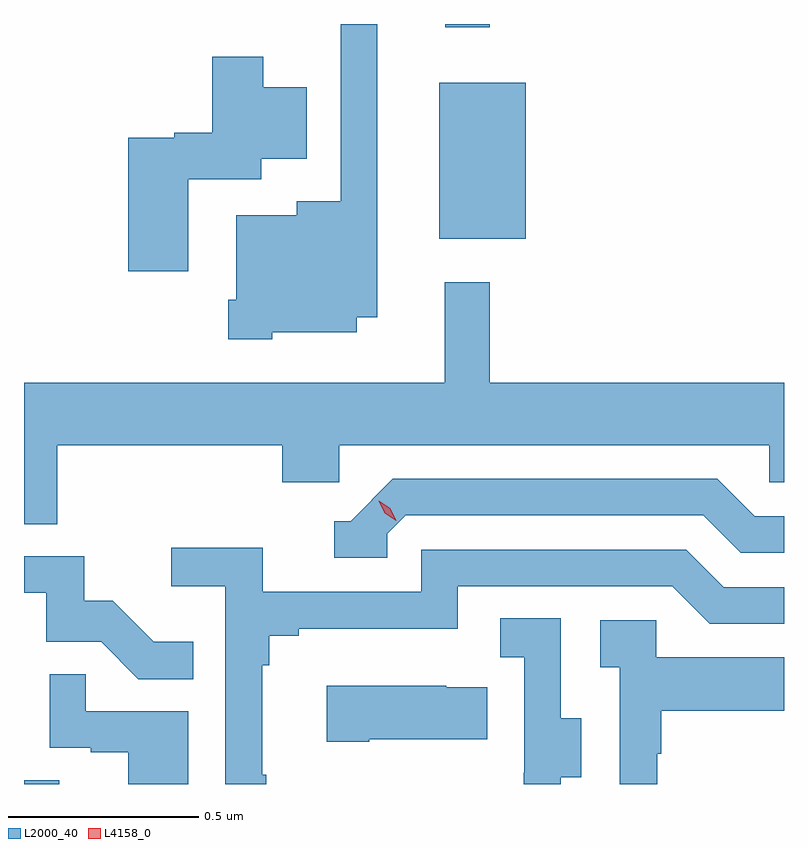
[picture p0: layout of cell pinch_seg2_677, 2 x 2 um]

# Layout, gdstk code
import gdstk
lib = gdstk.Library(unit=1e-6, precision=1e-09)
def R(c, l, rs):  # rectangles x0, y0, x1, y1
    for r in rs: c.add(gdstk.rectangle(r[:2], r[2:], *l))
def P(c, l, *ps):  # polygons
    for p in ps: c.add(gdstk.Polygon(p, *l))
L2000_40 = (2000, 40)
L4158_0 = (4158, 0)

pinch_seg2_677 = lib.new_cell('pinch_seg2_677')
R(pinch_seg2_677, L2000_40, [(1025.542,598.792,1025.635,598.802), (1026.635,600.227,1026.862,600.637), (1026.65,600.783,1026.767,600.792), (1026.079,600.791,1026.197,600.792)])
P(pinch_seg2_677, L2000_40, [(1026.195,599.981),(1026.418,599.981),(1026.418,600.02),(1026.472,600.02),(1026.472,600.792),(1026.375,600.792),(1026.375,600.325),(1026.26,600.325),(1026.26,600.289),(1026.101,600.289),(1026.101,600.067),(1026.08,600.067),(1026.08,599.963),(1026.195,599.963)],
  [(1025.974,600.383),(1026.166,600.383),(1026.166,600.437),(1026.286,600.437),(1026.286,600.625),(1026.172,600.625),(1026.172,600.706),(1026.038,600.706),(1026.038,600.506),(1025.937,600.506),(1025.937,600.493),(1025.816,600.493),(1025.816,600.141),(1025.974,600.141)],
  [(1025.63,599.684),(1026.221,599.684),(1026.221,599.586),(1026.372,599.586),(1026.372,599.684),(1027.503,599.684),(1027.503,599.586),(1027.542,599.586),(1027.542,599.848),(1026.767,599.848),(1026.767,600.112),(1026.649,600.112),(1026.649,599.848),(1025.542,599.848),(1025.542,599.476),(1025.63,599.476)],
  [(1026.498,599.451),(1026.546,599.499),(1027.329,599.499),(1027.428,599.4),(1027.542,599.4),(1027.542,599.496),(1027.465,599.496),(1027.366,599.595),(1026.513,599.595),(1026.402,599.484),(1026.359,599.484),(1026.359,599.388),(1026.498,599.388)],
  [(1026.18,598.817),(1026.169,598.817),(1026.169,599.105),(1026.188,599.105),(1026.188,599.182),(1026.265,599.182),(1026.265,599.201),(1026.684,599.201),(1026.684,599.313),(1027.248,599.313),(1027.347,599.214),(1027.542,599.214),(1027.542,599.31),(1027.384,599.31),(1027.285,599.409),(1026.588,599.409),(1026.588,599.298),(1026.17,599.298),(1026.17,599.414),(1025.93,599.414),(1025.93,599.312),(1026.072,599.312),(1026.072,598.792),(1026.18,598.792)],
  [(1025.987,599.167),(1025.883,599.167),(1025.776,599.274),(1025.7,599.274),(1025.7,599.391),(1025.542,599.391),(1025.542,599.295),(1025.601,599.295),(1025.601,599.166),(1025.745,599.166),(1025.843,599.068),(1025.987,599.068)],
  [(1026.955,598.81),(1027.009,598.81),(1027.009,598.965),(1026.954,598.965),(1026.954,599.228),(1026.795,599.228),(1026.795,599.125),(1026.858,599.125),(1026.858,598.821),(1026.857,598.821),(1026.857,598.792),(1026.955,598.792)],
  [(1027.209,598.871),(1027.219,598.871),(1027.219,598.985),(1027.542,598.985),(1027.542,599.125),(1027.206,599.125),(1027.206,599.223),(1027.059,599.223),(1027.059,599.099),(1027.11,599.099),(1027.11,598.792),(1027.209,598.792)],
  [(1025.974,598.983),(1025.705,598.983),(1025.705,599.081),(1025.61,599.081),(1025.61,598.887),(1025.717,598.887),(1025.717,598.875),(1025.816,598.875),(1025.816,598.792),(1025.974,598.792)],
  [(1026.451,598.91),(1026.761,598.91),(1026.761,599.047),(1026.653,599.047),(1026.653,599.05),(1026.339,599.05),(1026.339,598.903),(1026.451,598.903)])
P(pinch_seg2_677, L4158_0, [(1026.522,599.485),(1026.491,599.504),(1026.475,599.537),(1026.475,599.537),(1026.475,599.537),(1026.506,599.518),(1026.522,599.485),(1026.522,599.485)])

lib.write_gds('pinch_seg2_677.gds')
